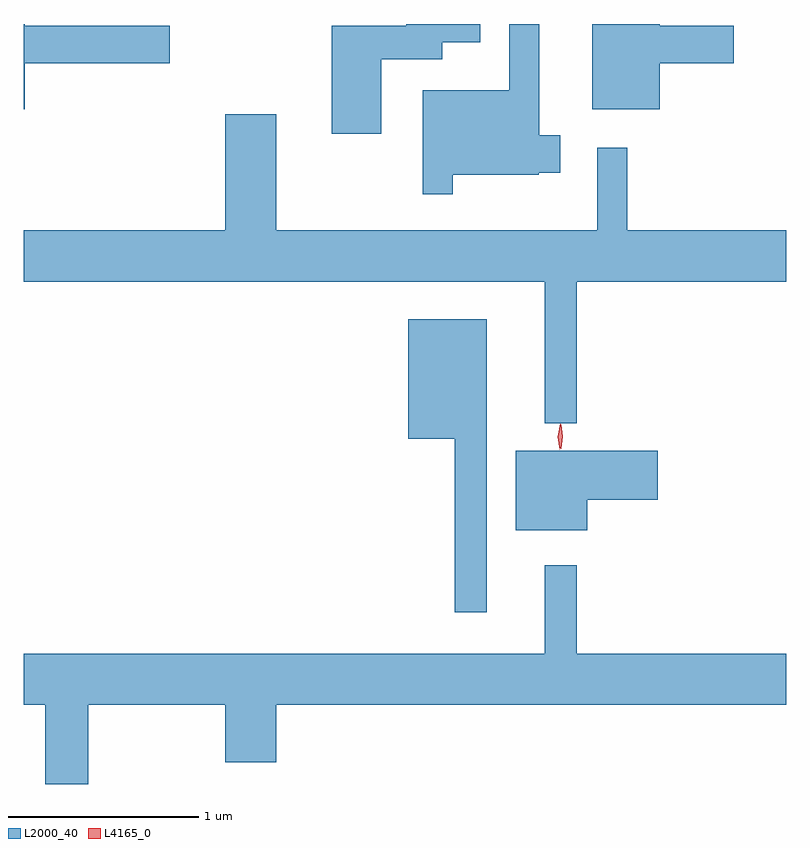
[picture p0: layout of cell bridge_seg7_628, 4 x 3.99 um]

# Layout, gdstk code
import gdstk
lib = gdstk.Library(unit=1e-6, precision=1e-09)
def P(c, l, *ps):  # polygons
    for p in ps: c.add(gdstk.Polygon(p, *l))
L2000_40 = (2000, 40)
L4165_0 = (4165, 0)

bridge_seg7_628 = lib.new_cell('bridge_seg7_628')
P(bridge_seg7_628, L2000_40, [(715.769,1701.556),(716.22,1701.556),(716.22,1701.566),(716.334,1701.566),(716.334,1701.764),(716.224,1701.764),(716.224,1702.347),(716.066,1702.347),(716.066,1701.999),(715.611,1701.999),(715.611,1701.453),(715.769,1701.453)],
  [(713.524,1702.141),(714.284,1702.141),(714.284,1702.339),(713.524,1702.339),(713.524,1702.347),(713.519,1702.347),(713.519,1701.901),(713.524,1701.901)],
  [(716.854,1702.141),(717.244,1702.141),(717.244,1702.339),(716.854,1702.339),(716.854,1702.347),(716.501,1702.347),(716.501,1701.901),(716.854,1701.901)],
  [(715.394,1702.161),(715.714,1702.161),(715.714,1702.251),(715.914,1702.251),(715.914,1702.347),(715.526,1702.347),(715.526,1702.339),(715.136,1702.339),(715.136,1701.771),(715.394,1701.771)],
  [(716.251,1700.253),(716.419,1700.253),(716.419,1700.996),(717.519,1700.996),(717.519,1701.264),(716.684,1701.264),(716.684,1701.698),(716.526,1701.698),(716.526,1701.264),(714.844,1701.264),(714.844,1701.874),(714.576,1701.874),(714.576,1701.264),(713.519,1701.264),(713.519,1700.996),(716.251,1700.996)],
  [(715.949,1700.799),(715.536,1700.799),(715.536,1700.171),(715.781,1700.171),(715.781,1699.263),(715.949,1699.263)],
  [(716.474,1699.851),(716.844,1699.851),(716.844,1700.109),(716.101,1700.109),(716.101,1699.691),(716.474,1699.691)],
  [(713.859,1698.776),(714.576,1698.776),(714.576,1698.476),(714.844,1698.476),(714.844,1698.776),(717.519,1698.776),(717.519,1699.044),(716.419,1699.044),(716.419,1699.508),(716.251,1699.508),(716.251,1699.044),(713.519,1699.044),(713.519,1698.776),(713.631,1698.776),(713.631,1698.361),(713.859,1698.361)])
P(bridge_seg7_628, L4165_0, [(716.337,1700.12),(716.337,1700.12),(716.327,1700.184),(716.337,1700.246),(716.337,1700.247),(716.338,1700.246),(716.347,1700.184),(716.338,1700.12)],
  [(716.33,1700.114),(716.321,1700.182),(716.332,1700.25),(716.332,1700.25),(716.333,1700.25),(716.341,1700.182),(716.331,1700.114),(716.331,1700.114)])

lib.write_gds('bridge_seg7_628.gds')
